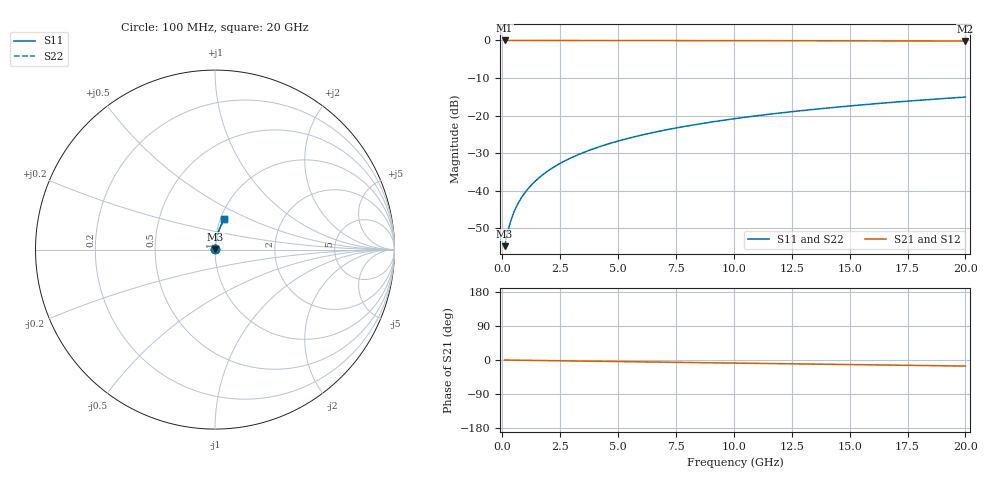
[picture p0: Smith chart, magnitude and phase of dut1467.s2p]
! Touchstone file exported from HFSS 2026.1.0
!  File:  C:/ffzhzh/LocalFiles/Ansys_Project_Files/temp_train_BSMRDL_1467_1783181026_22436.aedt
!  Generated:  12:04:53 AM Jul  5, 2026
!  Design:  BSMRDL
!  Project:  temp_train_BSMRDL_1467_1783181026_22436
! Variables:
!  h_bsmrdl = 2.1um
!  h_ox = 20um
!  h_rdl = 5um
!  h_sub = 80um
!  h_tmrdl = 5um
!  h_tsv = 80um
!  h_via = 3um
!  l_bsmrdl = 170.82um
!  l_sub = 570.82um
!  l_tmrdl = 200um
!  m_sub = 200um
!  pitch = 57.57um
!  r_tsv = 6um
!  s_tmrdl = 10um
!  w_bsmrdl = 26.62um
!  w_sub = 500um
!  w_tmrdl = 12um
!  x_tsv_center1 = 206um
!  x_tsv_center2 = 403.44um
!  x_tsv_center3 = 615.44um
!  x_tsv_center4 = 812.88um
!  x_tsv_center5 = 1024.88um
!  x_tsv_center6 = 1222.32um
# GHz S MA R 50.000000
! Terminal data exported
! Port[1] = BSM_RDL1_1_T1
! Port[2] = BSM_RDL1_1_T2
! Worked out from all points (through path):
!   200 points, 100 MHz to 20 GHz, reference 50 ohm
!   highest |S21| = -0.01 dB at 100 MHz (marker M1); lowest = -0.2 dB at 20 GHz (marker M2)
!   group delay of S21, straight-line fit = 2.22 ps
!   lowest |S11| = -54.8 dB at 100 MHz (marker M3), VSWR 1.00, Z = 50.2 + j0.0997 ohm
!   |S11| at or under -10 dB: start of sweep to end of sweep
!   |S22| runs from -54.8 to -15.1 dB; largest |S21 - S12| = 3.5e-15
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0.1  0.001821 33.1  0.9985 -0.1  0.9985 -0.1  0.001821 33.1
! Gamma 0 0 0 0
! Port Impedance 50 0 50 0
0.2  0.002522 51.7  0.9984 -0.2  0.9984 -0.2  0.002522 51.7
0.3  0.003362 61.2  0.9984 -0.3  0.9984 -0.3  0.003362 61.2
0.4  0.004243 66.6  0.9983 -0.3  0.9983 -0.3  0.004243 66.6
0.5  0.005134 70.1  0.9983 -0.4  0.9983 -0.4  0.005134 70.1
0.6  0.006026 72.5  0.9982 -0.5  0.9982 -0.5  0.006026 72.5
0.8  0.007807 75.7  0.9981 -0.7  0.9981 -0.7  0.007807 75.7
1.1  0.01048 78.5  0.998 -0.9  0.998 -0.9  0.01048 78.5
1.3  0.01227 79.7  0.998 -1.1  0.998 -1.1  0.01227 79.7
1.6  0.01495 81.0  0.9979 -1.3  0.9979 -1.3  0.01495 81.0
2.1  0.01946 82.2  0.9978 -1.7  0.9978 -1.7  0.01946 82.2
2.7  0.02488 82.9  0.9976 -2.2  0.9976 -2.2  0.02488 82.9
3.5  0.03212 83.3  0.9973 -2.9  0.9973 -2.9  0.03212 83.3
4.2  0.03846 83.3  0.997 -3.4  0.997 -3.4  0.03846 83.3
5  0.0457 83.1  0.9967 -4.1  0.9967 -4.1  0.0457 83.1
5.9  0.05382 82.7  0.9962 -4.8  0.9962 -4.8  0.05382 82.7
6.8  0.06192 82.2  0.9956 -5.5  0.9956 -5.5  0.06192 82.2
8.3  0.07536 81.3  0.9945 -6.7  0.9945 -6.7  0.07536 81.3
10.1  0.09136 80.0  0.993 -8.2  0.993 -8.2  0.09136 80.0
13.4  0.1203 77.6  0.9895 -10.8  0.9895 -10.8  0.1203 77.6
16.7  0.1486 75.1  0.9852 -13.4  0.9852 -13.4  0.1486 75.2
20  0.1762 72.6  0.9803 -16.0  0.9803 -16.0  0.1762 72.7
